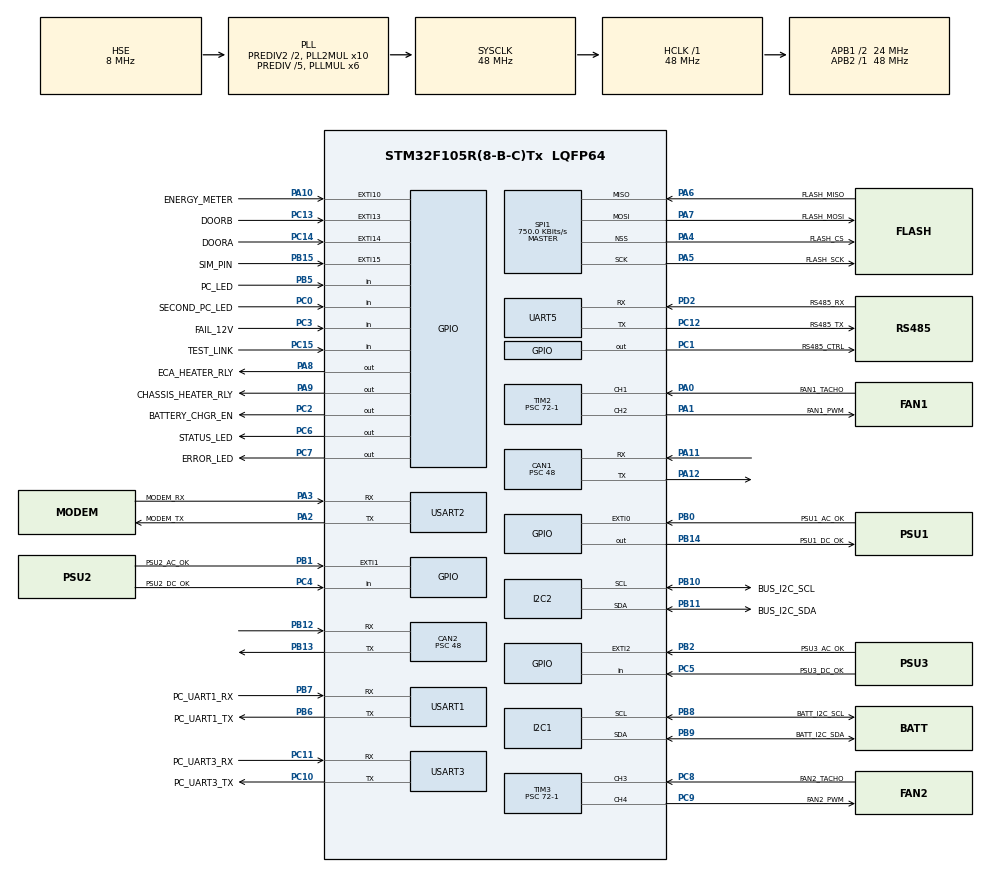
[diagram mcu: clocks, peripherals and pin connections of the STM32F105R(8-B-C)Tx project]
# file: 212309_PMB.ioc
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CAN1.CalculateBaudRate=166666
CAN1.CalculateTimeBit=6000
CAN1.CalculateTimeQuantum=2000.0
CAN1.Prescaler=48
CAN2.CalculateBaudRate=166666
CAN2.CalculateTimeBit=6000
CAN2.CalculateTimeQuantum=2000.0
CAN2.Prescaler=48
Mcu.Family=STM32F1
Mcu.Name=STM32F105R(8-B-C)Tx
Mcu.Package=LQFP64
NVIC.CAN1_RX0_IRQn=true\:0\:0\:false\:false\:true\:true\:true\:true
NVIC.CAN1_SCE_IRQn=true\:0\:0\:false\:false\:true\:true\:true\:true
NVIC.CAN1_TX_IRQn=true\:0\:0\:false\:false\:true\:true\:true\:true
NVIC.CAN2_RX0_IRQn=true\:0\:0\:false\:false\:true\:true\:true\:true
NVIC.CAN2_SCE_IRQn=true\:0\:0\:false\:false\:true\:true\:true\:true
NVIC.CAN2_TX_IRQn=true\:0\:0\:false\:false\:true\:true\:true\:true
NVIC.EXTI15_10_IRQn=true\:0\:0\:false\:false\:true\:true\:true\:true
NVIC.PriorityGroup=NVIC_PRIORITYGROUP_4
NVIC.USART1_IRQn=true\:0\:0\:false\:false\:true\:true\:true\:true
NVIC.USART2_IRQn=true\:0\:0\:false\:false\:true\:true\:true\:true
NVIC.USART3_IRQn=true\:0\:0\:false\:false\:true\:true\:true\:true
PA0-WKUP.GPIO_Label=FAN1_TACHO
PA0-WKUP.Signal=S_TIM2_CH1_ETR
PA1.GPIO_Label=FAN1_PWM
PA1.Signal=S_TIM2_CH2
PA10.GPIO_Label=ENERGY_METER
PA10.Signal=GPXTI10
PA11.Mode=CAN_Activate
PA11.Signal=CAN1_RX
PA12.Mode=CAN_Activate
PA12.Signal=CAN1_TX
PA13.GPIO_Label=JTMS_SWDIO
PA13.Mode=JTAG_5_pins
PA13.Signal=SYS_JTMS-SWDIO
PA14.GPIO_Label=JTCK_SWCLK
PA14.Mode=JTAG_5_pins
PA14.Signal=SYS_JTCK-SWCLK
PA15.GPIO_Label=JTDI
PA15.Mode=JTAG_5_pins
PA15.Signal=SYS_JTDI
PA2.GPIO_Label=MODEM_TX
PA2.Mode=Asynchronous
PA2.Signal=USART2_TX
PA3.GPIO_Label=MODEM_RX
PA3.Mode=Asynchronous
PA3.Signal=USART2_RX
PA4.GPIO_Label=FLASH_CS
PA4.Mode=NSS_Signal_Hard_Output
PA4.Signal=SPI1_NSS
PA5.GPIO_Label=FLASH_SCK
PA5.Mode=Full_Duplex_Master
PA5.Signal=SPI1_SCK
PA6.GPIO_Label=FLASH_MISO
PA6.Mode=Full_Duplex_Master
PA6.Signal=SPI1_MISO
PA7.GPIO_Label=FLASH_MOSI
PA7.Mode=Full_Duplex_Master
PA7.Signal=SPI1_MOSI
PA8.GPIO_Label=ECA_HEATER_RLY
PA8.Signal=GPIO_Output
PA9.GPIO_Label=CHASSIS_HEATER_RLY
PA9.Signal=GPIO_Output
PB0.GPIO_Label=PSU1_AC_OK
PB0.Signal=GPXTI0
PB1.GPIO_Label=PSU2_AC_OK
PB1.Signal=GPXTI1
PB10.GPIO_Label=BUS_I2C_SCL
PB10.Mode=I2C
PB10.Signal=I2C2_SCL
PB11.GPIO_Label=BUS_I2C_SDA
PB11.Mode=I2C
PB11.Signal=I2C2_SDA
PB12.Mode=CAN_Activate
PB12.Signal=CAN2_RX
PB13.Mode=CAN_Activate
PB13.Signal=CAN2_TX
PB14.GPIO_Label=PSU1_DC_OK
PB14.Signal=GPIO_Output
PB15.GPIO_Label=SIM_PIN
PB15.Signal=GPXTI15
PB2.GPIO_Label=PSU3_AC_OK
PB2.Signal=GPXTI2
PB3.GPIO_Label=JTDO
PB3.Mode=JTAG_5_pins
PB3.Signal=SYS_JTDO
PB4.GPIO_Label=NJTRST
PB4.Mode=JTAG_5_pins
PB4.Signal=SYS_NJTRST
PB5.GPIO_Label=PC_LED
PB5.Signal=GPIO_Input
PB6.GPIO_Label=PC_UART1_TX
PB6.Mode=Asynchronous
PB6.Signal=USART1_TX
PB7.GPIO_Label=PC_UART1_RX
PB7.Mode=Asynchronous
PB7.Signal=USART1_RX
PB8.GPIO_Label=BATT_I2C_SCL
PB8.Mode=I2C
PB8.Signal=I2C1_SCL
PB9.GPIO_Label=BATT_I2C_SDA
PB9.Mode=I2C
PB9.Signal=I2C1_SDA
PC0.GPIO_Label=SECOND_PC_LED
PC0.Signal=GPIO_Input
PC1.GPIO_Label=RS485_CTRL
PC1.Signal=GPIO_Output
PC10.GPIO_Label=PC_UART3_TX
PC10.Mode=Asynchronous
PC10.Signal=USART3_TX
PC11.GPIO_Label=PC_UART3_RX
PC11.Mode=Asynchronous
PC11.Signal=USART3_RX
PC12.GPIO_Label=RS485_TX
PC12.Mode=Asynchronous
PC12.Signal=UART5_TX
PC13-TAMPER-RTC.GPIO_Label=DOORB
PC13-TAMPER-RTC.Signal=GPXTI13
PC14-OSC32_IN.GPIO_Label=DOORA
PC14-OSC32_IN.Signal=GPXTI14
PC15-OSC32_OUT.GPIO_Label=TEST_LINK
PC15-OSC32_OUT.Signal=GPIO_Input
PC2.GPIO_Label=BATTERY_CHGR_EN
PC2.Signal=GPIO_Output
PC3.GPIO_Label=FAIL_12V
PC3.Signal=GPIO_Input
PC4.GPIO_Label=PSU2_DC_OK
PC4.Signal=GPIO_Input
PC5.GPIO_Label=PSU3_DC_OK
PC5.Signal=GPIO_Input
PC6.GPIO_Label=STATUS_LED
PC6.Signal=GPIO_Output
PC7.GPIO_Label=ERROR_LED
PC7.Signal=GPIO_Output
PC8.GPIO_Label=FAN2_TACHO
PC8.Signal=S_TIM3_CH3
PC9.GPIO_Label=FAN2_PWM
PC9.Signal=S_TIM3_CH4
PD0-OSC_IN.GPIO_Label=OSC_IN
PD0-OSC_IN.Mode=HSE-External-Oscillator
PD0-OSC_IN.Signal=RCC_OSC_IN
PD1-OSC_OUT.GPIO_Label=OSC_OUT
PD1-OSC_OUT.Mode=HSE-External-Oscillator
PD1-OSC_OUT.Signal=RCC_OSC_OUT
PD2.GPIO_Label=RS485_RX
PD2.Mode=Asynchronous
PD2.Signal=UART5_RX
ProjectManager.HeapSize=0x200
ProjectManager.StackSize=0x400
ProjectManager.TargetToolchain=STM32CubeIDE
RCC.AHBFreq_Value=48000000
RCC.APB1CLKDivider=RCC_HCLK_DIV2
RCC.APB1Freq_Value=24000000
RCC.APB1TimFreq_Value=48000000
RCC.APB2Freq_Value=48000000
RCC.APB2TimFreq_Value=48000000
RCC.HCLKFreq_Value=48000000
RCC.HSEDivPLL=RCC_HSE_PREDIV_DIV5
RCC.PLL2Mul=RCC_PLL2_MUL10
RCC.PLLMUL=RCC_PLL_MUL6
RCC.PLLSourceVirtual=RCC_PLLSOURCE_HSE
RCC.Prediv1Source=RCC_PREDIV1_SOURCE_PLL2
RCC.Prediv2=RCC_HSE_PREDIV2_DIV2
RCC.SYSCLKFreq_VALUE=48000000
RCC.SYSCLKSource=RCC_SYSCLKSOURCE_PLLCLK
RCC.USBFreq_Value=32000000
SH.S_TIM2_CH1_ETR.0=TIM2_CH1,Input_Capture1_from_TI1
SH.S_TIM2_CH2.0=TIM2_CH2,PWM Generation2 CH2
SH.S_TIM3_CH3.0=TIM3_CH3,Input_Capture3_from_TI3
SH.S_TIM3_CH4.0=TIM3_CH4,PWM Generation4 CH4
SPI1.BaudRatePrescaler=SPI_BAUDRATEPRESCALER_64
SPI1.CalculateBaudRate=750.0 KBits/s
SPI1.Direction=SPI_DIRECTION_2LINES
SPI1.Mode=SPI_MODE_MASTER
SPI1.VirtualNSS=VM_NSSHARD
SPI1.VirtualType=VM_MASTER
TIM2.Channel-Input_Capture1_from_TI1=TIM_CHANNEL_1
TIM2.Channel-PWM\ Generation2\ CH2=TIM_CHANNEL_2
TIM2.Period=500-1
TIM2.Prescaler=72-1
TIM3.Channel-Input_Capture3_from_TI3=TIM_CHANNEL_3
TIM3.Channel-PWM\ Generation4\ CH4=TIM_CHANNEL_4
TIM3.Period=500-1
TIM3.Prescaler=72-1
UART5.VirtualMode=Asynchronous
USART1.VirtualMode=VM_ASYNC
USART2.VirtualMode=VM_ASYNC
USART3.VirtualMode=VM_ASYNC
VP_TIM2_VS_ClockSourceINT.Mode=Internal
VP_TIM3_VS_ClockSourceINT.Mode=Internal
board=custom

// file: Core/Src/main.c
/* USER CODE BEGIN Header */
/**
  ******************************************************************************
  * @file           : main.c
  * @brief          : Main program body
  ******************************************************************************
  * @attention
  *
  * Copyright (c) 2023 STMicroelectronics.
  * All rights reserved.
  *
  * This software is licensed under terms that can be found in the LICENSE file
  * in the root directory of this software component.
  * If no LICENSE file comes with this software, it is provided AS-IS.
  *
  ******************************************************************************
  */
/* USER CODE END Header */
#include "main.h"
#include "string.h"
#include "stdio.h"
#include "sht4x_driver.h"
#include "stm32f1xx_hal_i2c.h"

CAN_HandleTypeDef hcan1;
CAN_HandleTypeDef hcan2;

I2C_HandleTypeDef hi2c1;
I2C_HandleTypeDef hi2c2;

SPI_HandleTypeDef hspi1;

TIM_HandleTypeDef htim2;
TIM_HandleTypeDef htim3;

UART_HandleTypeDef huart5;
UART_HandleTypeDef huart1;
UART_HandleTypeDef huart2;
UART_HandleTypeDef huart3;

void SystemClock_Config(void);
static void MX_GPIO_Init(void);
static void MX_CAN1_Init(void);
static void MX_CAN2_Init(void);
static void MX_I2C1_Init(void);
static void MX_I2C2_Init(void);
static void MX_SPI1_Init(void);
static void MX_TIM3_Init(void);
static void MX_UART5_Init(void);
static void MX_USART1_UART_Init(void);
static void MX_USART2_UART_Init(void);
static void MX_USART3_UART_Init(void);
static void MX_TIM2_Init(void);

void UartPrint(UART_HandleTypeDef *huart, uint8_t* message);
void i2c_scanner(void);
float SHT4x_ReadTemperature(void);
float SHT4x_ReadHumidity(void);
void I2C_Init(void);

int main(void)
{

  /* MCU Configuration--------------------------------------------------------*/

  /* Reset of all peripherals, Initializes the Flash interface and the Systick. */
  HAL_Init();

  /* Configure the system clock */
  SystemClock_Config();

  /* Initialize all configured peripherals */
  MX_GPIO_Init();
  MX_CAN1_Init();
  MX_CAN2_Init();
  MX_I2C1_Init();
  MX_I2C2_Init();
  MX_SPI1_Init();
  MX_TIM3_Init();
  MX_UART5_Init();
  MX_USART1_UART_Init();
  MX_USART2_UART_Init();
  MX_USART3_UART_Init();
  MX_TIM2_Init();
  /* USER CODE BEGIN 2 */

 uint8_t soft_reset = 0x94;
  /* USER CODE END 2 */

  /* Infinite loop */
  /* USER CODE BEGIN WHILE */
  while (1)
  {
	  char buffer[50]= {0};

	  sht4x_device_t sht4x_sensor;

	  HAL_StatusTypeDef ret = sht4x_init(&sht4x_sensor,"sht4x_sensor_1", &hi2c2);
	  if(sht4x_start_temperature_humidity_measurement(&sht4x_sensor) != HAL_OK)
	  {
		  sprintf(buffer,"sht4x_start_temperature_humidity_measurement has failed. ret = %d\r\n", ret);
		  UartPrint(&huart1,buffer);
	  }
	  HAL_Delay(10);
	  float temperature = 0;

	  if(sht4x_read_temperature_measurement(&sht4x_sensor, &temperature) != HAL_OK)
	  {
		  sprintf(buffer,"sht4x_read_temperature_measurement has failed. Temp = %f\r\n", temperature);
		  UartPrint(&huart1,buffer);
	  }

	  if(sht4x_start_temperature_humidity_measurement(&sht4x_sensor) != HAL_OK)
	 	  {
	 		  sprintf(buffer,"sht4x_start_temperature_humidity_measurement has failed. ret = %d\r\n", ret);
	 		  UartPrint(&huart1,buffer);
	 	  }

	  HAL_Delay(10);
	  float  humidity = 0;
	  if(sht4x_read_humidity_measurement(&sht4x_sensor, &humidity)!= HAL_OK)
	  {
	 	 sprintf(buffer,"sht4x_read_humidity_measurement has failed. Humidity = %d\r\n", humidity);
	 	 UartPrint(&huart1,buffer);
	  }
	  sprintf(buffer,"Temperature: %f°C \r\n", temperature);
	  UartPrint(&huart1,buffer);
	  UartPrint(&huart1,"******************************************\r\n");
	  sprintf(buffer,"Relative Humidity: %f %%\r\n", humidity);
	  UartPrint(&huart1,buffer);
	  UartPrint(&huart1,"******************************************\r\n");

	  if(sht4x_soft_reset(&sht4x_sensor)!= HAL_OK)
	  {
		  sprintf(buffer,"sht4x soft reset has failed.\r\n");
	 	  UartPrint(&huart1,buffer);
	  }

//*************************************** serial number ****************************************************
	  uint32_t serial_number;
	  if(sht4x_read_serial_number(&sht4x_sensor, &serial_number)!= HAL_OK)
	  {
		 sprintf(buffer,"sht4x_serial number read has failed. serial_number = %d\r\n", serial_number);
		 UartPrint(&huart1,buffer);
	  }
	  sprintf(buffer,"sht4x_serial number = %d\r\n", serial_number);
	  UartPrint(&huart1,buffer);
//**********************************************************************************************************

	  // HAL_I2C_Master_Transmit(&hi2c2, 0x44, soft_reset , 6, HAL_MAX_DELAY);
	//  float temperature = SHT4x_ReadTemperature();

	//  float  humidity = SHT4x_ReadHumidity();
	/*  sprintf(buffer,"Temperature: %f degrees Celsius\r\n", temperature);
	  UartPrint(&huart1,buffer);
	  sprintf(buffer,"Relative Humidity: %f percent\r\n", humidity);
	  UartPrint(&huart1,buffer);
	  UartPrint(&huart1,"\r\n");*/

	  memset(buffer, 0, sizeof(buffer)); // Set all values in buffer to 0
	 // i2c_scanner();
    /* USER CODE END WHILE */

  }
}

// Function to initialize I2C

float SHT4x_ReadTemperature(void)
{
  uint8_t data[6];
  uint8_t command = 0xFD;
  float temperature;
  HAL_I2C_Master_Transmit(&hi2c2, 0x44 << 1, &command, 1, HAL_MAX_DELAY);

  HAL_Delay(100);

  HAL_I2C_Master_Receive(&hi2c2,0x44 << 1 ,data, 6, HAL_MAX_DELAY);

  float t_ticks = data[0]<<8 | data[1];
  temperature = (- 45.0 + (175.0 * t_ticks/ 65535.0)) ;

  return temperature;
}

float SHT4x_ReadHumidity(void)
{
  uint8_t data[6];
  uint8_t command = 0xFD;
  float humidity;

  HAL_I2C_Master_Transmit(&hi2c2, 0x44 << 1, &command, 1, HAL_MAX_DELAY);

    HAL_Delay(100);

    HAL_I2C_Master_Receive(&hi2c2,0x44 << 1 ,data, 6, HAL_MAX_DELAY);

    humidity = ((100.0 * (float)((data[3] << 8) | data[4])) / 65535.0);

  return humidity;
}
void i2c_scanner(void)
{
	uint8_t Buffer[25] = {0};
	uint8_t Space[] = " - ";
	uint8_t StartMSG[] = "Starting I2C Scanning: \r\n";
	uint8_t EndMSG[] = "Done! \r\n\r\n";
	int i = 0x00,ret;

	/*-[ I2C Bus Scanning ]-*/
	  HAL_UART_Transmit(&huart1, StartMSG, sizeof(StartMSG), 10000);
	    for( i=1; i<128; i++)
	    {
	    	HAL_StatusTypeDef ret = HAL_I2C_IsDeviceReady(&hi2c2, (uint16_t)(i<<1), 3, 5);
	        if (ret != HAL_OK) /* No ACK Received At That Address */
	        {
	            HAL_UART_Transmit(&huart1, Space, sizeof(Space), 10000);
	        }
	        else if(ret == HAL_OK)
	        {
	            sprintf(Buffer, "0x%X", i);
	            HAL_UART_Transmit(&huart1, Buffer, sizeof(Buffer), 10000);
	        }
	    }
	    HAL_UART_Transmit(&huart1, EndMSG, sizeof(EndMSG), 10000);
	    /*--[ Scanning Done ]--*/
}

void UartPrint(UART_HandleTypeDef *huart, uint8_t* message)
{
	 HAL_UART_Transmit_IT(huart,message, strlen(message));
     HAL_Delay(1000);
}
void SystemClock_Config(void)
{
  RCC_OscInitTypeDef RCC_OscInitStruct = {0};
  RCC_ClkInitTypeDef RCC_ClkInitStruct = {0};

  /** Initializes the RCC Oscillators according to the specified parameters
  * in the RCC_OscInitTypeDef structure.
  */
  RCC_OscInitStruct.OscillatorType = RCC_OSCILLATORTYPE_HSE;
  RCC_OscInitStruct.HSEState = RCC_HSE_ON;
  RCC_OscInitStruct.HSEPredivValue = RCC_HSE_PREDIV_DIV5;
  RCC_OscInitStruct.HSIState = RCC_HSI_ON;
  RCC_OscInitStruct.Prediv1Source = RCC_PREDIV1_SOURCE_PLL2;
  RCC_OscInitStruct.PLL.PLLState = RCC_PLL_ON;
  RCC_OscInitStruct.PLL.PLLSource = RCC_PLLSOURCE_HSE;
  RCC_OscInitStruct.PLL.PLLMUL = RCC_PLL_MUL6;
  RCC_OscInitStruct.PLL2.PLL2State = RCC_PLL2_ON;
  RCC_OscInitStruct.PLL2.PLL2MUL = RCC_PLL2_MUL10;
  RCC_OscInitStruct.PLL2.HSEPrediv2Value = RCC_HSE_PREDIV2_DIV2;
  if (HAL_RCC_OscConfig(&RCC_OscInitStruct) != HAL_OK)
  {
    Error_Handler();
  }

  /** Initializes the CPU, AHB and APB buses clocks
  */
  RCC_ClkInitStruct.ClockType = RCC_CLOCKTYPE_HCLK|RCC_CLOCKTYPE_SYSCLK
                              |RCC_CLOCKTYPE_PCLK1|RCC_CLOCKTYPE_PCLK2;
  RCC_ClkInitStruct.SYSCLKSource = RCC_SYSCLKSOURCE_PLLCLK;
  RCC_ClkInitStruct.AHBCLKDivider = RCC_SYSCLK_DIV1;
  RCC_ClkInitStruct.APB1CLKDivider = RCC_HCLK_DIV2;
  RCC_ClkInitStruct.APB2CLKDivider = RCC_HCLK_DIV1;

  if (HAL_RCC_ClockConfig(&RCC_ClkInitStruct, FLASH_LATENCY_1) != HAL_OK)
  {
    Error_Handler();
  }

  /** Configure the Systick interrupt time
  */
  __HAL_RCC_PLLI2S_ENABLE();
}

static void MX_CAN1_Init(void)
{

  hcan1.Instance = CAN1;
  hcan1.Init.Prescaler = 48;
  hcan1.Init.Mode = CAN_MODE_NORMAL;
  hcan1.Init.SyncJumpWidth = CAN_SJW_1TQ;
  hcan1.Init.TimeSeg1 = CAN_BS1_1TQ;
  hcan1.Init.TimeSeg2 = CAN_BS2_1TQ;
  hcan1.Init.TimeTriggeredMode = DISABLE;
  hcan1.Init.AutoBusOff = DISABLE;
  hcan1.Init.AutoWakeUp = DISABLE;
  hcan1.Init.AutoRetransmission = DISABLE;
  hcan1.Init.ReceiveFifoLocked = DISABLE;
  hcan1.Init.TransmitFifoPriority = DISABLE;
  if (HAL_CAN_Init(&hcan1) != HAL_OK)
  {
    Error_Handler();
  }

}

static void MX_CAN2_Init(void)
{

  hcan2.Instance = CAN2;
  hcan2.Init.Prescaler = 48;
  hcan2.Init.Mode = CAN_MODE_NORMAL;
  hcan2.Init.SyncJumpWidth = CAN_SJW_1TQ;
  hcan2.Init.TimeSeg1 = CAN_BS1_1TQ;
  hcan2.Init.TimeSeg2 = CAN_BS2_1TQ;
  hcan2.Init.TimeTriggeredMode = DISABLE;
  hcan2.Init.AutoBusOff = DISABLE;
  hcan2.Init.AutoWakeUp = DISABLE;
  hcan2.Init.AutoRetransmission = DISABLE;
  hcan2.Init.ReceiveFifoLocked = DISABLE;
  hcan2.Init.TransmitFifoPriority = DISABLE;
  if (HAL_CAN_Init(&hcan2) != HAL_OK)
  {
    Error_Handler();
  }

}

static void MX_I2C1_Init(void)
{

  hi2c1.Instance = I2C1;
  hi2c1.Init.ClockSpeed = 100000;
  hi2c1.Init.DutyCycle = I2C_DUTYCYCLE_2;
  hi2c1.Init.OwnAddress1 = 0;
  hi2c1.Init.AddressingMode = I2C_ADDRESSINGMODE_7BIT;
  hi2c1.Init.DualAddressMode = I2C_DUALADDRESS_DISABLE;
  hi2c1.Init.OwnAddress2 = 0;
  hi2c1.Init.GeneralCallMode = I2C_GENERALCALL_DISABLE;
  hi2c1.Init.NoStretchMode = I2C_NOSTRETCH_DISABLE;
  if (HAL_I2C_Init(&hi2c1) != HAL_OK)
  {
    Error_Handler();
  }

}

static void MX_I2C2_Init(void)
{

  hi2c2.Instance = I2C2;
  hi2c2.Init.ClockSpeed = 100000;
  hi2c2.Init.DutyCycle = I2C_DUTYCYCLE_2;
  hi2c2.Init.OwnAddress1 = 0;
  hi2c2.Init.AddressingMode = I2C_ADDRESSINGMODE_7BIT;
  hi2c2.Init.DualAddressMode = I2C_DUALADDRESS_DISABLE;
  hi2c2.Init.OwnAddress2 = 0;
  hi2c2.Init.GeneralCallMode = I2C_GENERALCALL_DISABLE;
  hi2c2.Init.NoStretchMode = I2C_NOSTRETCH_DISABLE;
  if (HAL_I2C_Init(&hi2c2) != HAL_OK)
  {
    Error_Handler();
  }

}

static void MX_SPI1_Init(void)
{

  /* SPI1 parameter configuration*/
  hspi1.Instance = SPI1;
  hspi1.Init.Mode = SPI_MODE_MASTER;
  hspi1.Init.Direction = SPI_DIRECTION_2LINES;
  hspi1.Init.DataSize = SPI_DATASIZE_8BIT;
  hspi1.Init.CLKPolarity = SPI_POLARITY_LOW;
  hspi1.Init.CLKPhase = SPI_PHASE_1EDGE;
  hspi1.Init.NSS = SPI_NSS_HARD_OUTPUT;
  hspi1.Init.BaudRatePrescaler = SPI_BAUDRATEPRESCALER_64;
  hspi1.Init.FirstBit = SPI_FIRSTBIT_MSB;
  hspi1.Init.TIMode = SPI_TIMODE_DISABLE;
  hspi1.Init.CRCCalculation = SPI_CRCCALCULATION_DISABLE;
  hspi1.Init.CRCPolynomial = 10;
  if (HAL_SPI_Init(&hspi1) != HAL_OK)
  {
    Error_Handler();
  }

}

static void MX_TIM2_Init(void)
{

  TIM_ClockConfigTypeDef sClockSourceConfig = {0};
  TIM_MasterConfigTypeDef sMasterConfig = {0};
  TIM_IC_InitTypeDef sConfigIC = {0};
  TIM_OC_InitTypeDef sConfigOC = {0};

  htim2.Instance = TIM2;
  htim2.Init.Prescaler = 72-1;
  htim2.Init.CounterMode = TIM_COUNTERMODE_UP;
  htim2.Init.Period = 500-1;
  htim2.Init.ClockDivision = TIM_CLOCKDIVISION_DIV1;
  htim2.Init.AutoReloadPreload = TIM_AUTORELOAD_PRELOAD_DISABLE;
  if (HAL_TIM_Base_Init(&htim2) != HAL_OK)
  {
    Error_Handler();
  }
  sClockSourceConfig.ClockSource = TIM_CLOCKSOURCE_INTERNAL;
  if (HAL_TIM_ConfigClockSource(&htim2, &sClockSourceConfig) != HAL_OK)
  {
    Error_Handler();
  }
  if (HAL_TIM_IC_Init(&htim2) != HAL_OK)
  {
    Error_Handler();
  }
  if (HAL_TIM_PWM_Init(&htim2) != HAL_OK)
  {
    Error_Handler();
  }
  sMasterConfig.MasterOutputTrigger = TIM_TRGO_RESET;
  sMasterConfig.MasterSlaveMode = TIM_MASTERSLAVEMODE_DISABLE;
  if (HAL_TIMEx_MasterConfigSynchronization(&htim2, &sMasterConfig) != HAL_OK)
  {
    Error_Handler();
  }
  sConfigIC.ICPolarity = TIM_INPUTCHANNELPOLARITY_RISING;
  sConfigIC.ICSelection = TIM_ICSELECTION_DIRECTTI;
  sConfigIC.ICPrescaler = TIM_ICPSC_DIV1;
  sConfigIC.ICFilter = 0;
  if (HAL_TIM_IC_ConfigChannel(&htim2, &sConfigIC, TIM_CHANNEL_1) != HAL_OK)
  {
    Error_Handler();
  }
  sConfigOC.OCMode = TIM_OCMODE_PWM1;
  sConfigOC.Pulse = 0;
  sConfigOC.OCPolarity = TIM_OCPOLARITY_HIGH;
  sConfigOC.OCFastMode = TIM_OCFAST_DISABLE;
  if (HAL_TIM_PWM_ConfigChannel(&htim2, &sConfigOC, TIM_CHANNEL_2) != HAL_OK)
  {
    Error_Handler();
  }
  HAL_TIM_MspPostInit(&htim2);

}

static void MX_TIM3_Init(void)
{

  TIM_ClockConfigTypeDef sClockSourceConfig = {0};
  TIM_MasterConfigTypeDef sMasterConfig = {0};
  TIM_IC_InitTypeDef sConfigIC = {0};
  TIM_OC_InitTypeDef sConfigOC = {0};

  htim3.Instance = TIM3;
  htim3.Init.Prescaler = 72-1;
  htim3.Init.CounterMode = TIM_COUNTERMODE_UP;
  htim3.Init.Period = 500-1;
  htim3.Init.ClockDivision = TIM_CLOCKDIVISION_DIV1;
  htim3.Init.AutoReloadPreload = TIM_AUTORELOAD_PRELOAD_DISABLE;
  if (HAL_TIM_Base_Init(&htim3) != HAL_OK)
  {
    Error_Handler();
  }
  sClockSourceConfig.ClockSource = TIM_CLOCKSOURCE_INTERNAL;
  if (HAL_TIM_ConfigClockSource(&htim3, &sClockSourceConfig) != HAL_OK)
  {
    Error_Handler();
  }
  if (HAL_TIM_IC_Init(&htim3) != HAL_OK)
  {
    Error_Handler();
  }
  if (HAL_TIM_PWM_Init(&htim3) != HAL_OK)
  {
    Error_Handler();
  }
  sMasterConfig.MasterOutputTrigger = TIM_TRGO_RESET;
  sMasterConfig.MasterSlaveMode = TIM_MASTERSLAVEMODE_DISABLE;
  if (HAL_TIMEx_MasterConfigSynchronization(&htim3, &sMasterConfig) != HAL_OK)
  {
    Error_Handler();
  }
  sConfigIC.ICPolarity = TIM_INPUTCHANNELPOLARITY_RISING;
  sConfigIC.ICSelection = TIM_ICSELECTION_DIRECTTI;
  sConfigIC.ICPrescaler = TIM_ICPSC_DIV1;
  sConfigIC.ICFilter = 0;
  if (HAL_TIM_IC_ConfigChannel(&htim3, &sConfigIC, TIM_CHANNEL_3) != HAL_OK)
  {
    Error_Handler();
  }
  sConfigOC.OCMode = TIM_OCMODE_PWM1;
  sConfigOC.Pulse = 0;
  sConfigOC.OCPolarity = TIM_OCPOLARITY_HIGH;
  sConfigOC.OCFastMode = TIM_OCFAST_DISABLE;
  if (HAL_TIM_PWM_ConfigChannel(&htim3, &sConfigOC, TIM_CHANNEL_4) != HAL_OK)
  {
    Error_Handler();
  }
  HAL_TIM_MspPostInit(&htim3);

}

static void MX_UART5_Init(void)
{

  huart5.Instance = UART5;
  huart5.Init.BaudRate = 115200;
  huart5.Init.WordLength = UART_WORDLENGTH_8B;
  huart5.Init.StopBits = UART_STOPBITS_1;
  huart5.Init.Parity = UART_PARITY_NONE;
  huart5.Init.Mode = UART_MODE_TX_RX;
  huart5.Init.HwFlowCtl = UART_HWCONTROL_NONE;
  huart5.Init.OverSampling = UART_OVERSAMPLING_16;
  if (HAL_UART_Init(&huart5) != HAL_OK)
  {
    Error_Handler();
  }

}

static void MX_USART1_UART_Init(void)
{

  huart1.Instance = USART1;
  huart1.Init.BaudRate = 115200;
  huart1.Init.WordLength = UART_WORDLENGTH_8B;
  huart1.Init.StopBits = UART_STOPBITS_1;
  huart1.Init.Parity = UART_PARITY_NONE;
  huart1.Init.Mode = UART_MODE_TX_RX;
  huart1.Init.HwFlowCtl = UART_HWCONTROL_NONE;
  huart1.Init.OverSampling = UART_OVERSAMPLING_16;
  if (HAL_UART_Init(&huart1) != HAL_OK)
  {
    Error_Handler();
  }

}

static void MX_USART2_UART_Init(void)
{

  huart2.Instance = USART2;
  huart2.Init.BaudRate = 115200;
  huart2.Init.WordLength = UART_WORDLENGTH_8B;
  huart2.Init.StopBits = UART_STOPBITS_1;
  huart2.Init.Parity = UART_PARITY_NONE;
  huart2.Init.Mode = UART_MODE_TX_RX;
  huart2.Init.HwFlowCtl = UART_HWCONTROL_NONE;
  huart2.Init.OverSampling = UART_OVERSAMPLING_16;
  if (HAL_UART_Init(&huart2) != HAL_OK)
  {
    Error_Handler();
  }

}

static void MX_USART3_UART_Init(void)
{

  huart3.Instance = USART3;
  huart3.Init.BaudRate = 115200;
  huart3.Init.WordLength = UART_WORDLENGTH_8B;
  huart3.Init.StopBits = UART_STOPBITS_1;
  huart3.Init.Parity = UART_PARITY_NONE;
  huart3.Init.Mode = UART_MODE_TX_RX;
  huart3.Init.HwFlowCtl = UART_HWCONTROL_NONE;
  huart3.Init.OverSampling = UART_OVERSAMPLING_16;
  if (HAL_UART_Init(&huart3) != HAL_OK)
  {
    Error_Handler();
  }

}

static void MX_GPIO_Init(void)
{
  GPIO_InitTypeDef GPIO_InitStruct = {0};

  /* GPIO Ports Clock Enable */
  __HAL_RCC_GPIOC_CLK_ENABLE();
  __HAL_RCC_GPIOD_CLK_ENABLE();
  __HAL_RCC_GPIOA_CLK_ENABLE();
  __HAL_RCC_GPIOB_CLK_ENABLE();

  /*Configure GPIO pin Output Level */
  HAL_GPIO_WritePin(GPIOC, RS485_CTRL_Pin|BATTERY_CHGR_EN_Pin|STATUS_LED_Pin|ERROR_LED_Pin, GPIO_PIN_RESET);

  /*Configure GPIO pin Output Level */
  HAL_GPIO_WritePin(PSU1_DC_OK_GPIO_Port, PSU1_DC_OK_Pin, GPIO_PIN_RESET);

  /*Configure GPIO pin Output Level */
  HAL_GPIO_WritePin(GPIOA, ECA_HEATER_RLY_Pin|CHASSIS_HEATER_RLY_Pin, GPIO_PIN_RESET);

  /*Configure GPIO pins : DOORB_Pin DOORA_Pin */
  GPIO_InitStruct.Pin = DOORB_Pin|DOORA_Pin;
  GPIO_InitStruct.Mode = GPIO_MODE_IT_RISING;
  GPIO_InitStruct.Pull = GPIO_NOPULL;
  HAL_GPIO_Init(GPIOC, &GPIO_InitStruct);

  /*Configure GPIO pins : TEST_LINK_Pin SECOND_PC_LED_Pin FAIL_12V_Pin PSU2_DC_OK_Pin
                           PSU3_DC_OK_Pin */
  GPIO_InitStruct.Pin = TEST_LINK_Pin|SECOND_PC_LED_Pin|FAIL_12V_Pin|PSU2_DC_OK_Pin
                          |PSU3_DC_OK_Pin;
  GPIO_InitStruct.Mode = GPIO_MODE_INPUT;
  GPIO_InitStruct.Pull = GPIO_NOPULL;
  HAL_GPIO_Init(GPIOC, &GPIO_InitStruct);

  /*Configure GPIO pins : RS485_CTRL_Pin BATTERY_CHGR_EN_Pin STATUS_LED_Pin ERROR_LED_Pin */
  GPIO_InitStruct.Pin = RS485_CTRL_Pin|BATTERY_CHGR_EN_Pin|STATUS_LED_Pin|ERROR_LED_Pin;
  GPIO_InitStruct.Mode = GPIO_MODE_OUTPUT_PP;
  GPIO_InitStruct.Pull = GPIO_NOPULL;
  GPIO_InitStruct.Speed = GPIO_SPEED_FREQ_LOW;
  HAL_GPIO_Init(GPIOC, &GPIO_InitStruct);

  /*Configure GPIO pins : PSU1_AC_OK_Pin PSU2_AC_OK_Pin PSU3_AC_OK_Pin SIM_PIN_Pin */
  GPIO_InitStruct.Pin = PSU1_AC_OK_Pin|PSU2_AC_OK_Pin|PSU3_AC_OK_Pin|SIM_PIN_Pin;
  GPIO_InitStruct.Mode = GPIO_MODE_IT_RISING;
  GPIO_InitStruct.Pull = GPIO_NOPULL;
  HAL_GPIO_Init(GPIOB, &GPIO_InitStruct);

  /*Configure GPIO pin : PSU1_DC_OK_Pin */
  GPIO_InitStruct.Pin = PSU1_DC_OK_Pin;
  GPIO_InitStruct.Mode = GPIO_MODE_OUTPUT_PP;
  GPIO_InitStruct.Pull = GPIO_NOPULL;
  GPIO_InitStruct.Speed = GPIO_SPEED_FREQ_LOW;
  HAL_GPIO_Init(PSU1_DC_OK_GPIO_Port, &GPIO_InitStruct);

  /*Configure GPIO pins : ECA_HEATER_RLY_Pin CHASSIS_HEATER_RLY_Pin */
  GPIO_InitStruct.Pin = ECA_HEATER_RLY_Pin|CHASSIS_HEATER_RLY_Pin;
  GPIO_InitStruct.Mode = GPIO_MODE_OUTPUT_PP;
  GPIO_InitStruct.Pull = GPIO_NOPULL;
  GPIO_InitStruct.Speed = GPIO_SPEED_FREQ_LOW;
  HAL_GPIO_Init(GPIOA, &GPIO_InitStruct);

  /*Configure GPIO pin : ENERGY_METER_Pin */
  GPIO_InitStruct.Pin = ENERGY_METER_Pin;
  GPIO_InitStruct.Mode = GPIO_MODE_IT_RISING;
  GPIO_InitStruct.Pull = GPIO_NOPULL;
  HAL_GPIO_Init(ENERGY_METER_GPIO_Port, &GPIO_InitStruct);

  /*Configure GPIO pin : PC_LED_Pin */
  GPIO_InitStruct.Pin = PC_LED_Pin;
  GPIO_InitStruct.Mode = GPIO_MODE_INPUT;
  GPIO_InitStruct.Pull = GPIO_NOPULL;
  HAL_GPIO_Init(PC_LED_GPIO_Port, &GPIO_InitStruct);

  /* EXTI interrupt init*/
  HAL_NVIC_SetPriority(EXTI15_10_IRQn, 0, 0);
  HAL_NVIC_EnableIRQ(EXTI15_10_IRQn);

}

void Error_Handler(void)
{
  __disable_irq();
  while (1)
  {
  }
}
